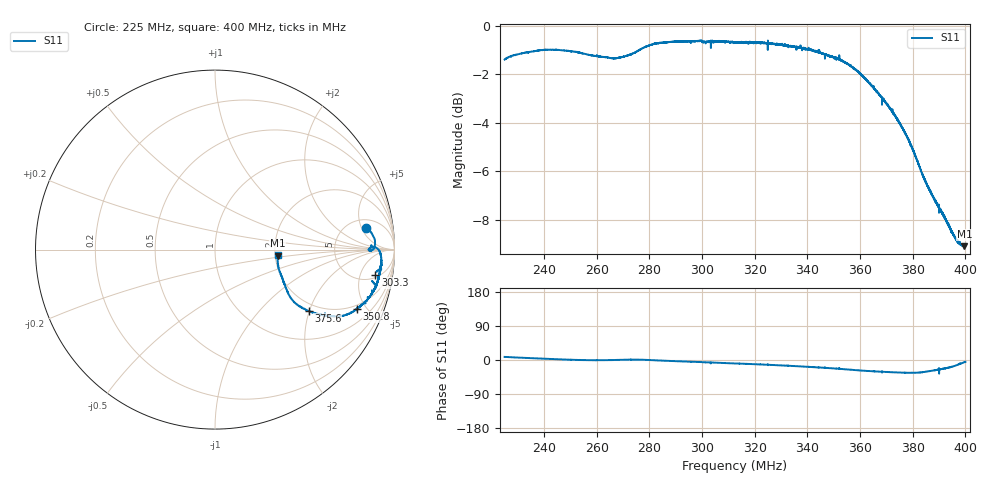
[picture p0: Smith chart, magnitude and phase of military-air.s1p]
! Calibrated averaged scanner-service zoom
# Hz S RI R 50
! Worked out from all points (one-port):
!   10001 points, 225 MHz to 400 MHz, reference 50 ohm
!   lowest |S11| = -9.1 dB at 399.6 MHz (marker M1), VSWR 2.08, Z = 103 - j8.08 ohm
!   |S11| at or under -10 dB: nowhere
!   S11 on the Smith chart (normalised r, x): 225 MHz: 7.00, +6.19; 303.3 MHz: 6, -9; 350.8 MHz: 1.74, -4.35; 375.6 MHz: 1.77, -1.97; 400 MHz: 2.08, -0.14
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2.25e8  0.8437 0.121
2.2864e8  0.864 0.1038
2.372675e8  0.8861 0.0665
2.46875e8  0.8905 0.0223
2.56605e8  0.8722 -0.00535
2.643575e8  0.86 -0.0062
2.6875e8  0.8602 0.00556
2.76835e8  0.8957 0.012
2.824175e8  0.9192 -0.0142
2.90625e8  0.9263 -0.0529
3.033125e8  0.8935 -0.1419
3.125e8  0.9132 -0.1457
3.232625e8  0.9016 -0.1949
3.34375e8  0.8727 -0.247
3.413225e8  0.8464 -0.283
3.50825e8  0.7924 -0.3295
3.5625e8  0.7457 -0.3559
3.60555e8  0.6999 -0.371
3.653675e8  0.643 -0.3706
3.7018e8  0.5869 -0.3619
3.7557e8  0.5212 -0.3414
3.78125e8  0.4878 -0.3264
3.8278e8  0.427 -0.276
3.85615e8  0.4038 -0.2352
3.932625e8  0.3676 -0.1378
3.9629e8  0.3523 -0.0924
3.99615e8  0.3496 -0.0343
4e8  0.3521 -0.0289
